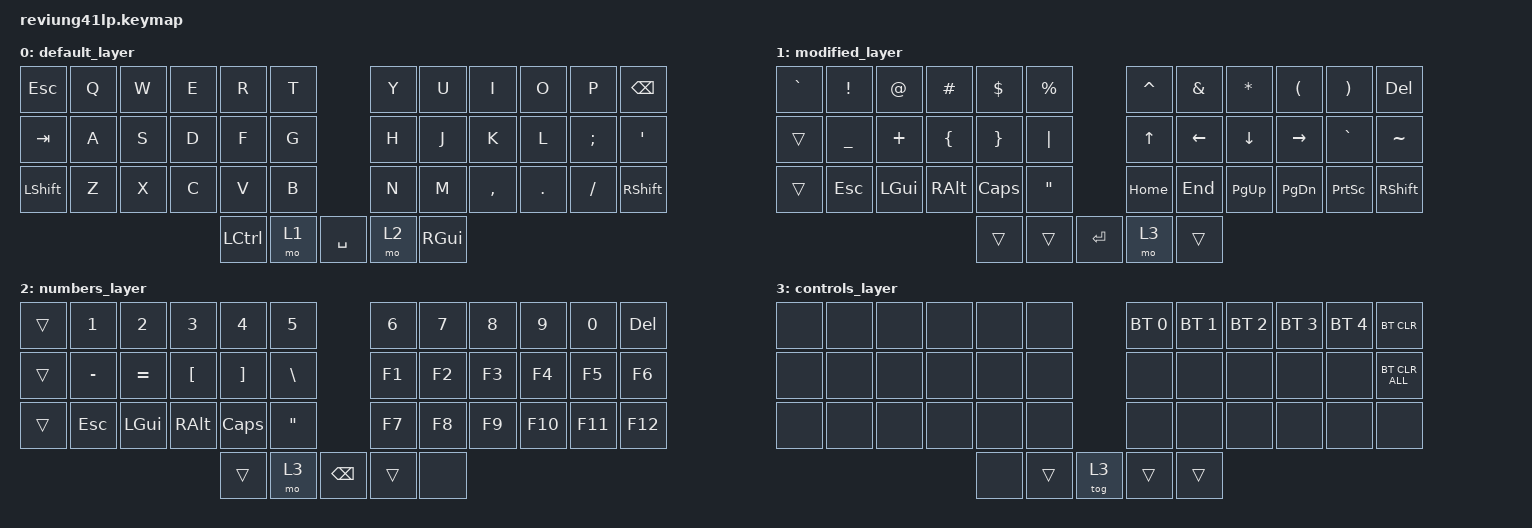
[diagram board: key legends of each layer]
/*
 * Copyright (c) 2020 The ZMK Contributors
 *
 * SPDX-License-Identifier: MIT
 */

#include <behaviors.dtsi>
#include <dt-bindings/zmk/keys.h>
#include <dt-bindings/zmk/bt.h>


/ {
        keymap {
                compatible = "zmk,keymap";

                default_layer {
                        bindings = <
&kp ESC      &kp Q           &kp W           &kp E           &kp R           &kp T                           &kp Y           &kp U           &kp I           &kp O           &kp P           &kp BSPC
&kp TAB      &kp A           &kp S           &kp D           &kp F           &kp G                           &kp H           &kp J           &kp K           &kp L           &kp SEMI        &kp SQT
&kp LSHFT    &kp Z           &kp X           &kp C           &kp V           &kp B                           &kp N           &kp M           &kp COMMA       &kp DOT         &kp FSLH        &kp RSHFT
                                                             &kp LCTRL       &mo 1           &kp SPACE       &mo 2           &kp RGUI
                        >;
                };

                modified_layer {
                        bindings = <
&kp GRAVE    &kp EXCL        &kp AT          &kp HASH        &kp DLLR        &kp PRCNT                       &kp CARET       &kp AMPS        &kp ASTRK       &kp LPAR        &kp RPAR        &kp DEL
&trans       &kp UNDER       &kp PLUS        &kp LBRC        &kp RBRC        &kp PIPE                        &kp UP          &kp LEFT        &kp DOWN        &kp RIGHT       &kp GRAVE       &kp TILDE
&trans       &kp ESC         &kp LGUI        &kp RALT        &kp CLCK        &kp DQT                         &kp HOME        &kp END         &kp PG_UP       &kp PG_DN       &kp PSCRN       &kp RSHFT
                                                             &trans          &trans          &kp RET         &mo 3           &trans
                        >;
                };

                numbers_layer {
                        bindings = <
&trans       &kp N1          &kp N2          &kp N3          &kp N4          &kp N5                          &kp N6          &kp N7          &kp N8          &kp N9          &kp N0          &kp DEL
&trans       &kp MINUS       &kp EQUAL       &kp LBKT        &kp RBKT        &kp BSLH                        &kp F1          &kp F2          &kp F3          &kp F4          &kp F5          &kp F6
&trans       &kp ESC         &kp LGUI        &kp RALT        &kp CLCK        &kp DQT                         &kp F7          &kp F8          &kp F9          &kp F10         &kp F11         &kp F12
                                                             &trans          &mo 3           &kp BSPC        &trans          &none
                        >;
                };

                controls_layer {
                        bindings = <
&none        &none           &none           &none           &none           &none                           &bt BT_SEL 0    &bt BT_SEL 1    &bt BT_SEL 2    &bt BT_SEL 3    &bt BT_SEL 4    &bt BT_CLR
&none        &none           &none           &none           &none           &none                           &none           &none           &none           &none           &none           &bt BT_CLR_ALL
&none        &none           &none           &none           &none           &none                           &none           &none           &none           &none           &none           &none
                                                             &none           &trans         &tog 3           &trans          &trans
                        >;
                };
        };
};
